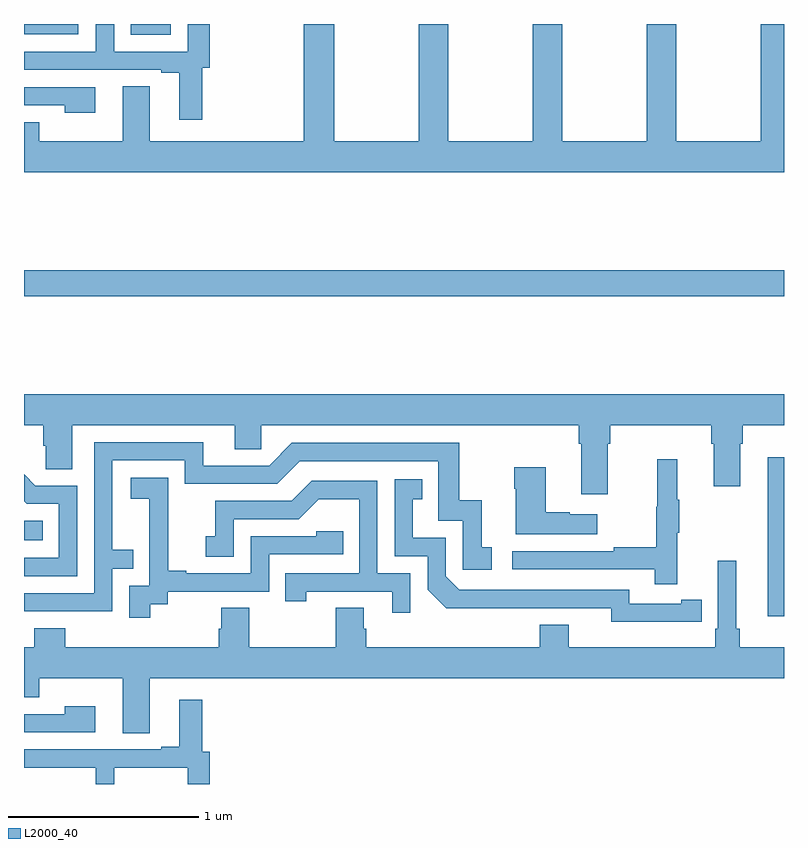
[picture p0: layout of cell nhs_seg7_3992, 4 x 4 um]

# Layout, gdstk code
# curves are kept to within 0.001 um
import gdstk
lib = gdstk.Library(unit=1e-6, precision=1e-09)
def R(c, l, rs):  # rectangles x0, y0, x1, y1
    for r in rs: c.add(gdstk.rectangle(r[:2], r[2:], *l))
def P(c, l, *ps):  # polygons
    for p in ps: c.add(gdstk.Polygon(p, *l))
L2000_40 = (2000, 40)

nhs_seg7_3992 = lib.new_cell('nhs_seg7_3992')
R(nhs_seg7_3992, L2000_40, [(366.914,1060.884,367,1061.719), (363,1061.282,363.098,1061.386), (363,1062.568,367,1062.704), (363.563,1063.943,363.772,1064), (363,1063.946,363.286,1064)])
P(nhs_seg7_3992, L2000_40, [(367,1064),(366.877,1064),(366.877,1063.384),(366.432,1063.384),(366.432,1064),(366.277,1064),(366.277,1063.384),(365.832,1063.384),(365.832,1064),(365.677,1064),(365.677,1063.384),(365.232,1063.384),(365.232,1064),(365.077,1064),(365.077,1063.384),(364.632,1063.384),(364.632,1064),(364.472,1064),(364.472,1063.384),(363.661,1063.384),(363.661,1063.673),(363.521,1063.673),(363.521,1063.384),(363.081,1063.384),(363.081,1063.483),(363,1063.483),(363,1063.22),(367,1063.22)],
  [(363.937,1063.77),(363.977,1063.77),(363.977,1064),(363.861,1064),(363.861,1063.854),(363.474,1063.854),(363.474,1064),(363.378,1064),(363.378,1063.854),(363,1063.854),(363,1063.758),(363.722,1063.758),(363.722,1063.743),(363.818,1063.743),(363.818,1063.497),(363.937,1063.497)],
  [(363.376,1063.668),(363,1063.668),(363,1063.572),(363.215,1063.572),(363.215,1063.532),(363.376,1063.532)],
  [(363,1061.888),(363.101,1061.888),(363.101,1061.779),(363.114,1061.779),(363.114,1061.656),(363.253,1061.656),(363.253,1061.888),(364.109,1061.888),(364.109,1061.761),(364.248,1061.761),(364.248,1061.888),(365.921,1061.888),(365.921,1061.792),(365.933,1061.792),(365.933,1061.526),(366.073,1061.526),(366.073,1061.792),(366.086,1061.792),(366.086,1061.888),(366.617,1061.888),(366.617,1061.792),(366.629,1061.792),(366.629,1061.568),(366.769,1061.568),(366.769,1061.792),(366.782,1061.792),(366.782,1061.888),(367,1061.888),(367,1062.052),(363,1062.052)],
  [(363.465,1061.133),(363.575,1061.133),(363.575,1061.234),(363.465,1061.234),(363.465,1061.703),(363.846,1061.703),(363.846,1061.58),(364.332,1061.58),(364.452,1061.7),(365.181,1061.7),(365.181,1061.385),(365.31,1061.385),(365.31,1061.127),(365.461,1061.127),(365.461,1061.247),(365.408,1061.247),(365.408,1061.494),(365.29,1061.494),(365.29,1061.796),(364.41,1061.796),(364.29,1061.676),(363.943,1061.676),(363.943,1061.799),(363.369,1061.799),(363.369,1061.004),(363,1061.004),(363,1060.908),(363.465,1060.908)],
  [(366.437,1061.323),(366.448,1061.323),(366.448,1061.497),(366.437,1061.497),(366.437,1061.71),(366.334,1061.71),(366.334,1061.46),(366.327,1061.46),(366.327,1061.246),(366.103,1061.246),(366.103,1061.226),(365.571,1061.226),(365.571,1061.13),(366.319,1061.13),(366.319,1061.052),(366.437,1061.052)],
  [(366.016,1061.419),(365.873,1061.419),(365.873,1061.429),(365.746,1061.429),(365.746,1061.668),(365.581,1061.668),(365.581,1061.555),(365.588,1061.555),(365.588,1061.315),(366.016,1061.315)],
  [(363.279,1061.571),(363.06,1061.571),(363,1061.631),(363,1061.489),(363.014,1061.475),(363.183,1061.475),(363.183,1061.19),(363,1061.19),(363,1061.094),(363.279,1061.094)],
  [(363.664,1060.945),(363.756,1060.945),(363.756,1061.013),(364.29,1061.013),(364.29,1061.208),(364.679,1061.208),(364.679,1061.331),(364.539,1061.331),(364.539,1061.304),(364.194,1061.304),(364.194,1061.109),(363.853,1061.109),(363.853,1061.122),(363.758,1061.122),(363.758,1061.405),(363.759,1061.405),(363.759,1061.611),(363.561,1061.611),(363.561,1061.501),(363.659,1061.501),(363.659,1061.273),(363.66,1061.273),(363.66,1061.043),(363.555,1061.043),(363.555,1060.875),(363.664,1060.875)],
  [(366.458,1060.854),(366.566,1060.854),(366.566,1060.97),(366.458,1060.97),(366.458,1060.95),(366.186,1060.95),(366.186,1061.022),(365.292,1061.022),(365.22,1061.094),(365.22,1061.295),(365.047,1061.295),(365.047,1061.499),(365.096,1061.499),(365.096,1061.605),(364.95,1061.605),(364.95,1061.199),(365.124,1061.199),(365.124,1061.022),(365.222,1060.925),(366.09,1060.926),(366.09,1060.853)],
  [(365.034,1061.109),(364.86,1061.109),(364.86,1061.595),(364.514,1061.595),(364.409,1061.49),(364.006,1061.49),(364.006,1061.305),(363.957,1061.305),(363.957,1061.196),(364.104,1061.196),(364.104,1061.394),(364.446,1061.394),(364.55,1061.498),(364.764,1061.498),(364.764,1061.109),(364.375,1061.109),(364.375,1060.962),(364.486,1060.962),(364.486,1061.013),(364.937,1061.013),(364.937,1060.902),(365.034,1060.902)],
  [(363.661,1060.556),(367,1060.556),(367,1060.72),(366.767,1060.72),(366.767,1060.816),(366.748,1060.816),(366.748,1061.176),(366.651,1061.176),(366.651,1060.816),(366.638,1060.816),(366.638,1060.72),(365.866,1060.72),(365.866,1060.837),(365.714,1060.837),(365.714,1060.72),(364.802,1060.72),(364.802,1060.818),(364.789,1060.818),(364.789,1060.928),(364.642,1060.928),(364.642,1060.72),(364.185,1060.72),(364.185,1060.928),(364.037,1060.928),(364.037,1060.818),(364.025,1060.818),(364.025,1060.72),(363.218,1060.72),(363.218,1060.819),(363.053,1060.819),(363.053,1060.72),(363,1060.72),(363,1060.457),(363.081,1060.457),(363.081,1060.556),(363.521,1060.556),(363.521,1060.267),(363.661,1060.267)],
  [(363.474,1060.086),(363.861,1060.086),(363.861,1060),(363.977,1060),(363.977,1060.17),(363.937,1060.17),(363.937,1060.444),(363.818,1060.444),(363.818,1060.197),(363.722,1060.197),(363.722,1060.182),(363,1060.182),(363,1060.086),(363.378,1060.086),(363.378,1060),(363.474,1060)],
  [(363.376,1060.408),(363.215,1060.408),(363.215,1060.368),(363,1060.368),(363,1060.272),(363.376,1060.272)])

lib.write_gds('nhs_seg7_3992.gds')
